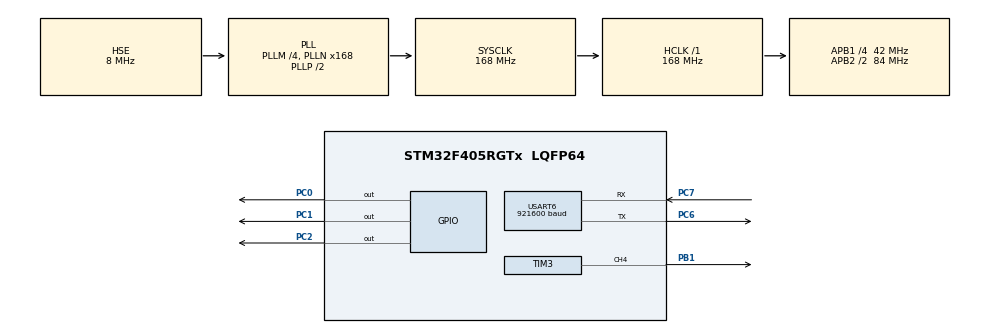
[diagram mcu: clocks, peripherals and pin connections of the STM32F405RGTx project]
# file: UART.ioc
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Mcu.Family=STM32F4
Mcu.Name=STM32F405RGTx
Mcu.Package=LQFP64
NVIC.PriorityGroup=NVIC_PRIORITYGROUP_4
NVIC.USART6_IRQn=true\:0\:0\:false\:false\:true\:true\:true\:true
PB1.Signal=S_TIM3_CH4
PC0.Signal=GPIO_Output
PC1.Signal=GPIO_Output
PC2.Signal=GPIO_Output
PC6.Mode=Asynchronous
PC6.Signal=USART6_TX
PC7.Mode=Asynchronous
PC7.Signal=USART6_RX
PH0-OSC_IN.Mode=HSE-External-Oscillator
PH0-OSC_IN.Signal=RCC_OSC_IN
PH1-OSC_OUT.Mode=HSE-External-Oscillator
PH1-OSC_OUT.Signal=RCC_OSC_OUT
ProjectManager.HeapSize=0x200
ProjectManager.StackSize=0x400
ProjectManager.TargetToolchain=STM32CubeIDE
RCC.48MHZClocksFreq_Value=84000000
RCC.AHBFreq_Value=168000000
RCC.APB1CLKDivider=RCC_HCLK_DIV4
RCC.APB1Freq_Value=42000000
RCC.APB1TimFreq_Value=84000000
RCC.APB2CLKDivider=RCC_HCLK_DIV2
RCC.APB2Freq_Value=84000000
RCC.APB2TimFreq_Value=168000000
RCC.CortexFreq_Value=168000000
RCC.HCLKFreq_Value=168000000
RCC.HSE_VALUE=8000000
RCC.HSI_VALUE=16000000
RCC.LSE_VALUE=32768
RCC.PLLM=4
RCC.PLLN=168
RCC.PLLSourceVirtual=RCC_PLLSOURCE_HSE
RCC.SYSCLKFreq_VALUE=168000000
RCC.SYSCLKSource=RCC_SYSCLKSOURCE_PLLCLK
RCC.VCOOutputFreq_Value=336000000
SH.S_TIM3_CH4.0=TIM3_CH4,PWM Generation4 CH4
TIM3.AutoReloadPreload=TIM_AUTORELOAD_PRELOAD_ENABLE
TIM3.Channel-PWM\ Generation4\ CH4=TIM_CHANNEL_4
TIM3.OCFastMode_PWM-PWM\ Generation4\ CH4=TIM_OCFAST_ENABLE
TIM3.Period=20
TIM3.Prescaler=999
TIM3.Pulse-PWM\ Generation4\ CH4=10
USART6.BaudRate=921600
USART6.VirtualMode=VM_ASYNC
VP_TIM3_VS_ClockSourceINT.Mode=Internal
board=custom

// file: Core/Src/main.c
/* USER CODE BEGIN Header */
/**
  ******************************************************************************
  * @file           : main.c
  * @brief          : Main program body
  ******************************************************************************
  * @attention
  *
  * Copyright (c) 2025 STMicroelectronics.
  * All rights reserved.
  *
  * This software is licensed under terms that can be found in the LICENSE file
  * in the root directory of this software component.
  * If no LICENSE file comes with this software, it is provided AS-IS.
  *
  ******************************************************************************
  */
/* USER CODE END Header */
#include "main.h"

/* USER CODE BEGIN PTD */
int _write(int file, char *p, int len)
{
	for (int i = 0; i < len; i++)
	{
		LL_USART_TransmitData8(USART6, *(p + i));
		HAL_Delay(1);
	}

	return len;
}
/* USER CODE END PTD */

/* USER CODE BEGIN PV */
  extern uint8_t uart6_rx_flag;
  extern uint8_t uart6_rx_data;
/* USER CODE END PV */

void SystemClock_Config(void);
static void MX_GPIO_Init(void);
static void MX_TIM3_Init(void);
static void MX_USART6_UART_Init(void);

int main(void)
{

  /* USER CODE BEGIN 1 */
	int count = 0;
	float f = 1.23;
  /* USER CODE END 1 */

  /* MCU Configuration--------------------------------------------------------*/

  /* Reset of all peripherals, Initializes the Flash interface and the Systick. */
  HAL_Init();

  /* Configure the system clock */
  SystemClock_Config();

  /* Initialize all configured peripherals */
  MX_GPIO_Init();
  MX_TIM3_Init();
  MX_USART6_UART_Init();
  /* USER CODE BEGIN 2 */

  LL_TIM_CC_EnableChannel(TIM3, LL_TIM_CHANNEL_CH4);
  LL_TIM_EnableCounter(TIM3);

  TIM3->PSC = 5000;
  HAL_Delay(100);
  TIM3->PSC = 3500;
  HAL_Delay(100);
  TIM3->PSC = 1500;
  HAL_Delay(100);

  LL_TIM_CC_DisableChannel(TIM3, LL_TIM_CHANNEL_CH4);

  /* enable rx interrupt */
  LL_USART_EnableIT_RXNE(USART6);

  /* USER CODE END 2 */

  /* Infinite loop */
  while (1)
  {
    if (uart6_rx_flag)
    {
    	uart6_rx_flag = 0;
    	LL_USART_TransmitData8(USART6, uart6_rx_data);

    	switch (uart6_rx_data)
    	{
    	    case '0':
    		    LL_GPIO_TogglePin(GPIOC, LL_GPIO_PIN_0 | LL_GPIO_PIN_1 | LL_GPIO_PIN_2);
    		    printf("case 1");
    		    break;
    	    case '1':
    	    	LL_TIM_CC_EnableChannel(TIM3, LL_TIM_CHANNEL_CH4);
    	    	printf("case 2");
    	    	break;
    	    case '2':
    	    	LL_TIM_CC_DisableChannel(TIM3, LL_TIM_CHANNEL_CH4);
    	    	printf("case 3");
    	    	break;
    	}
    	printf("%d %f\n", count++, f+=0.001);
    	HAL_Delay(1000);
    }
  }
}

void SystemClock_Config(void)
{
  RCC_OscInitTypeDef RCC_OscInitStruct = {0};
  RCC_ClkInitTypeDef RCC_ClkInitStruct = {0};

  /** Configure the main internal regulator output voltage
  */
  __HAL_RCC_PWR_CLK_ENABLE();
  __HAL_PWR_VOLTAGESCALING_CONFIG(PWR_REGULATOR_VOLTAGE_SCALE1);

  /** Initializes the RCC Oscillators according to the specified parameters
  * in the RCC_OscInitTypeDef structure.
  */
  RCC_OscInitStruct.OscillatorType = RCC_OSCILLATORTYPE_HSE;
  RCC_OscInitStruct.HSEState = RCC_HSE_ON;
  RCC_OscInitStruct.PLL.PLLState = RCC_PLL_ON;
  RCC_OscInitStruct.PLL.PLLSource = RCC_PLLSOURCE_HSE;
  RCC_OscInitStruct.PLL.PLLM = 4;
  RCC_OscInitStruct.PLL.PLLN = 168;
  RCC_OscInitStruct.PLL.PLLP = RCC_PLLP_DIV2;
  RCC_OscInitStruct.PLL.PLLQ = 4;
  if (HAL_RCC_OscConfig(&RCC_OscInitStruct) != HAL_OK)
  {
    Error_Handler();
  }

  /** Initializes the CPU, AHB and APB buses clocks
  */
  RCC_ClkInitStruct.ClockType = RCC_CLOCKTYPE_HCLK|RCC_CLOCKTYPE_SYSCLK
                              |RCC_CLOCKTYPE_PCLK1|RCC_CLOCKTYPE_PCLK2;
  RCC_ClkInitStruct.SYSCLKSource = RCC_SYSCLKSOURCE_PLLCLK;
  RCC_ClkInitStruct.AHBCLKDivider = RCC_SYSCLK_DIV1;
  RCC_ClkInitStruct.APB1CLKDivider = RCC_HCLK_DIV4;
  RCC_ClkInitStruct.APB2CLKDivider = RCC_HCLK_DIV2;

  if (HAL_RCC_ClockConfig(&RCC_ClkInitStruct, FLASH_LATENCY_5) != HAL_OK)
  {
    Error_Handler();
  }
}

static void MX_TIM3_Init(void)
{

  LL_TIM_InitTypeDef TIM_InitStruct = {0};
  LL_TIM_OC_InitTypeDef TIM_OC_InitStruct = {0};

  LL_GPIO_InitTypeDef GPIO_InitStruct = {0};

  /* Peripheral clock enable */
  LL_APB1_GRP1_EnableClock(LL_APB1_GRP1_PERIPH_TIM3);

  TIM_InitStruct.Prescaler = 999;
  TIM_InitStruct.CounterMode = LL_TIM_COUNTERMODE_UP;
  TIM_InitStruct.Autoreload = 20;
  TIM_InitStruct.ClockDivision = LL_TIM_CLOCKDIVISION_DIV1;
  LL_TIM_Init(TIM3, &TIM_InitStruct);
  LL_TIM_EnableARRPreload(TIM3);
  LL_TIM_SetClockSource(TIM3, LL_TIM_CLOCKSOURCE_INTERNAL);
  LL_TIM_OC_EnablePreload(TIM3, LL_TIM_CHANNEL_CH4);
  TIM_OC_InitStruct.OCMode = LL_TIM_OCMODE_PWM1;
  TIM_OC_InitStruct.OCState = LL_TIM_OCSTATE_DISABLE;
  TIM_OC_InitStruct.OCNState = LL_TIM_OCSTATE_DISABLE;
  TIM_OC_InitStruct.CompareValue = 10;
  TIM_OC_InitStruct.OCPolarity = LL_TIM_OCPOLARITY_HIGH;
  LL_TIM_OC_Init(TIM3, LL_TIM_CHANNEL_CH4, &TIM_OC_InitStruct);
  LL_TIM_OC_EnableFast(TIM3, LL_TIM_CHANNEL_CH4);
  LL_TIM_SetTriggerOutput(TIM3, LL_TIM_TRGO_RESET);
  LL_TIM_DisableMasterSlaveMode(TIM3);
  LL_AHB1_GRP1_EnableClock(LL_AHB1_GRP1_PERIPH_GPIOB);
  /**TIM3 GPIO Configuration
  PB1   ------> TIM3_CH4
  */
  GPIO_InitStruct.Pin = LL_GPIO_PIN_1;
  GPIO_InitStruct.Mode = LL_GPIO_MODE_ALTERNATE;
  GPIO_InitStruct.Speed = LL_GPIO_SPEED_FREQ_LOW;
  GPIO_InitStruct.OutputType = LL_GPIO_OUTPUT_PUSHPULL;
  GPIO_InitStruct.Pull = LL_GPIO_PULL_NO;
  GPIO_InitStruct.Alternate = LL_GPIO_AF_2;
  LL_GPIO_Init(GPIOB, &GPIO_InitStruct);

}

static void MX_USART6_UART_Init(void)
{

  LL_USART_InitTypeDef USART_InitStruct = {0};

  LL_GPIO_InitTypeDef GPIO_InitStruct = {0};

  /* Peripheral clock enable */
  LL_APB2_GRP1_EnableClock(LL_APB2_GRP1_PERIPH_USART6);

  LL_AHB1_GRP1_EnableClock(LL_AHB1_GRP1_PERIPH_GPIOC);
  /**USART6 GPIO Configuration
  PC6   ------> USART6_TX
  PC7   ------> USART6_RX
  */
  GPIO_InitStruct.Pin = LL_GPIO_PIN_6|LL_GPIO_PIN_7;
  GPIO_InitStruct.Mode = LL_GPIO_MODE_ALTERNATE;
  GPIO_InitStruct.Speed = LL_GPIO_SPEED_FREQ_VERY_HIGH;
  GPIO_InitStruct.OutputType = LL_GPIO_OUTPUT_PUSHPULL;
  GPIO_InitStruct.Pull = LL_GPIO_PULL_NO;
  GPIO_InitStruct.Alternate = LL_GPIO_AF_8;
  LL_GPIO_Init(GPIOC, &GPIO_InitStruct);

  /* USART6 interrupt Init */
  NVIC_SetPriority(USART6_IRQn, NVIC_EncodePriority(NVIC_GetPriorityGrouping(), 0, 0));
  NVIC_EnableIRQ(USART6_IRQn);

  USART_InitStruct.BaudRate = 115200;
  USART_InitStruct.DataWidth = LL_USART_DATAWIDTH_8B;
  USART_InitStruct.StopBits = LL_USART_STOPBITS_1;
  USART_InitStruct.Parity = LL_USART_PARITY_NONE;
  USART_InitStruct.TransferDirection = LL_USART_DIRECTION_TX_RX;
  USART_InitStruct.HardwareFlowControl = LL_USART_HWCONTROL_NONE;
  USART_InitStruct.OverSampling = LL_USART_OVERSAMPLING_16;
  LL_USART_Init(USART6, &USART_InitStruct);
  LL_USART_ConfigAsyncMode(USART6);
  LL_USART_Enable(USART6);

}

static void MX_GPIO_Init(void)
{
  LL_GPIO_InitTypeDef GPIO_InitStruct = {0};

  /* GPIO Ports Clock Enable */
  LL_AHB1_GRP1_EnableClock(LL_AHB1_GRP1_PERIPH_GPIOH);
  LL_AHB1_GRP1_EnableClock(LL_AHB1_GRP1_PERIPH_GPIOC);
  LL_AHB1_GRP1_EnableClock(LL_AHB1_GRP1_PERIPH_GPIOB);

  /**/
  LL_GPIO_ResetOutputPin(GPIOC, LL_GPIO_PIN_0|LL_GPIO_PIN_1|LL_GPIO_PIN_2);

  /**/
  GPIO_InitStruct.Pin = LL_GPIO_PIN_0|LL_GPIO_PIN_1|LL_GPIO_PIN_2;
  GPIO_InitStruct.Mode = LL_GPIO_MODE_OUTPUT;
  GPIO_InitStruct.Speed = LL_GPIO_SPEED_FREQ_LOW;
  GPIO_InitStruct.OutputType = LL_GPIO_OUTPUT_PUSHPULL;
  GPIO_InitStruct.Pull = LL_GPIO_PULL_NO;
  LL_GPIO_Init(GPIOC, &GPIO_InitStruct);

}

void Error_Handler(void)
{
  __disable_irq();
  while (1)
  {
  }
}
